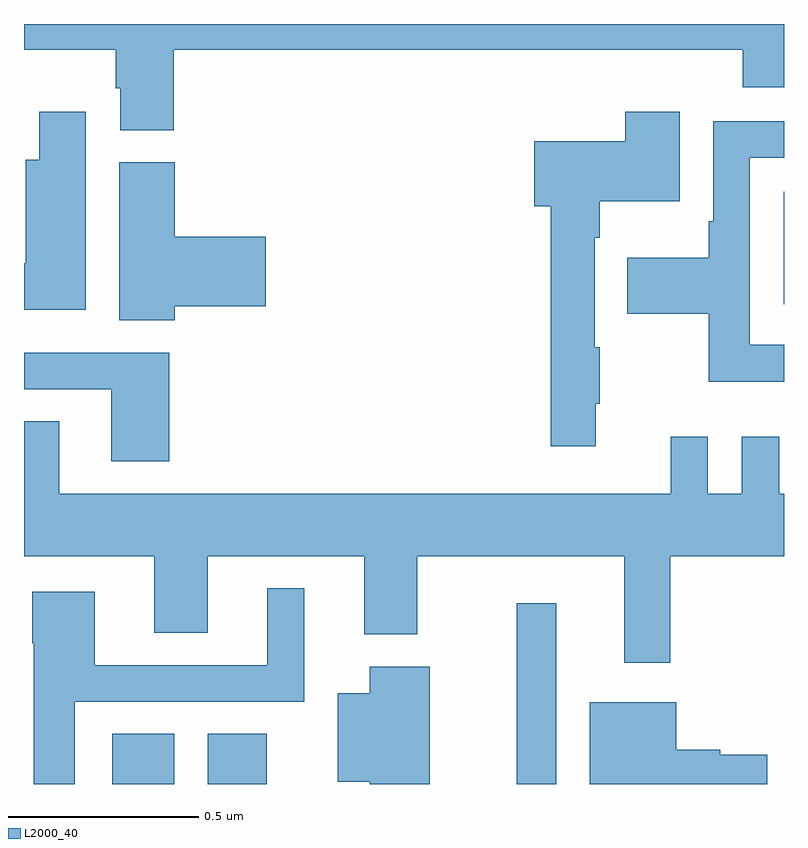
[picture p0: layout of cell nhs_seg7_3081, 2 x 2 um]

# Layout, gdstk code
import gdstk
lib = gdstk.Library(unit=1e-6, precision=1e-09)
def R(c, l, rs):  # rectangles x0, y0, x1, y1
    for r in rs: c.add(gdstk.rectangle(r[:2], r[2:], *l))
def P(c, l, *ps):  # polygons
    for p in ps: c.add(gdstk.Polygon(p, *l))
L2000_40 = (2000, 40)

nhs_seg7_3081 = lib.new_cell('nhs_seg7_3081')
R(nhs_seg7_3081, L2000_40, [(154.232,1016,154.396,1016.132), (154.484,1016,154.639,1016.132), (155.297,1016,155.401,1016.476), (155.999,1017.263,156,1017.559)])
P(nhs_seg7_3081, L2000_40, [(154.394,1017.932),(155.891,1017.932),(155.891,1017.833),(156,1017.833),(156,1018),(154,1018),(154,1017.932),(154.241,1017.932),(154.241,1017.831),(154.253,1017.831),(154.253,1017.721),(154.394,1017.721)],
  [(154.162,1017.769),(154.04,1017.769),(154.04,1017.643),(154.004,1017.643),(154.004,1017.37),(154,1017.37),(154,1017.248),(154.162,1017.248)],
  [(155.504,1017.001),(155.515,1017.001),(155.515,1017.149),(155.502,1017.149),(155.502,1017.437),(155.515,1017.437),(155.515,1017.533),(155.725,1017.533),(155.725,1017.769),(155.582,1017.769),(155.582,1017.691),(155.343,1017.691),(155.343,1017.521),(155.386,1017.521),(155.386,1016.889),(155.504,1016.889)],
  [(156,1017.156),(155.91,1017.156),(155.91,1017.648),(156,1017.648),(156,1017.744),(155.814,1017.744),(155.814,1017.481),(155.802,1017.481),(155.802,1017.385),(155.587,1017.385),(155.587,1017.238),(155.802,1017.238),(155.802,1017.059),(156,1017.059)],
  [(154.397,1017.257),(154.636,1017.257),(154.636,1017.44),(154.397,1017.44),(154.397,1017.636),(154.25,1017.636),(154.25,1017.22),(154.397,1017.22)],
  [(154.382,1017.135),(154,1017.135),(154,1017.039),(154.229,1017.039),(154.229,1016.85),(154.382,1016.85)],
  [(155.701,1016.6),(156,1016.6),(156,1016.764),(155.987,1016.764),(155.987,1016.914),(155.889,1016.914),(155.889,1016.764),(155.799,1016.764),(155.799,1016.914),(155.702,1016.914),(155.702,1016.764),(154.093,1016.764),(154.093,1016.954),(154,1016.954),(154,1016.6),(154.343,1016.6),(154.343,1016.398),(154.483,1016.398),(154.483,1016.6),(154.895,1016.6),(154.895,1016.394),(155.035,1016.394),(155.035,1016.6),(155.579,1016.6),(155.579,1016.319),(155.701,1016.319)],
  [(154.134,1016.217),(154.738,1016.217),(154.738,1016.515),(154.64,1016.515),(154.64,1016.313),(154.186,1016.313),(154.186,1016.506),(154.022,1016.506),(154.022,1016.37),(154.026,1016.37),(154.026,1016),(154.134,1016)],
  [(155.068,1016.308),(154.91,1016.308),(154.91,1016.239),(154.826,1016.239),(154.826,1016.006),(154.91,1016.006),(154.91,1016),(155.068,1016)],
  [(155.956,1016.077),(155.832,1016.077),(155.832,1016.09),(155.716,1016.09),(155.716,1016.215),(155.489,1016.215),(155.489,1016),(155.956,1016)])

lib.write_gds('nhs_seg7_3081.gds')
